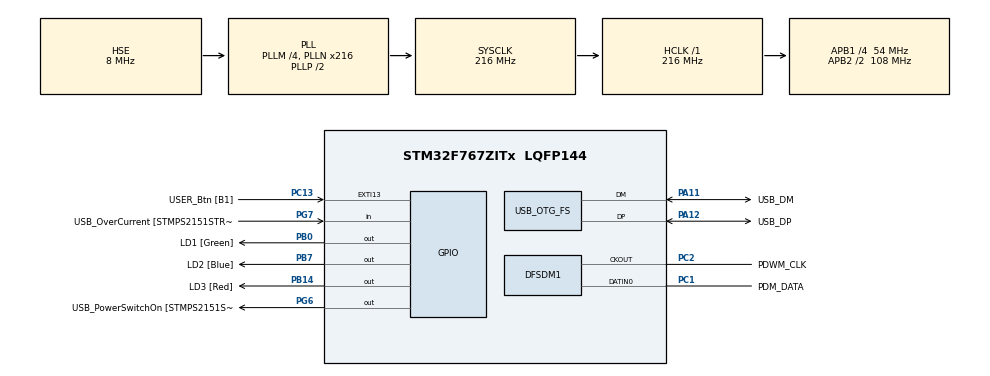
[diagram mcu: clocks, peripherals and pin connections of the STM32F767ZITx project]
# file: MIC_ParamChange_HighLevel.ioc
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DFSDM1.Divider=54
DFSDM1.DmaMode_reg_FIL0=ENABLE
DFSDM1.FastMode_reg_FIL0=ENABLE
DFSDM1.Filter_regChannel_FIL0=DFSDM_CHANNEL_0
DFSDM1.Filter_regContinuousMode_FIL0=DFSDM_CONTINUOUS_CONV_ON
DFSDM1.Fosr_FIL0=1
DFSDM1.RightBitShift_CH0=0x01
DFSDM1.SincOrder_FIL0=DFSDM_FILTER_SINC1_ORDER
DFSDM1.Type_spi_CH0=DFSDM_CHANNEL_SPI_FALLING
Dma.DFSDM1_FLT0.0.Direction=DMA_PERIPH_TO_MEMORY
Dma.DFSDM1_FLT0.0.FIFOMode=DMA_FIFOMODE_DISABLE
Dma.DFSDM1_FLT0.0.Instance=DMA2_Stream0
Dma.DFSDM1_FLT0.0.MemDataAlignment=DMA_MDATAALIGN_WORD
Dma.DFSDM1_FLT0.0.MemInc=DMA_MINC_ENABLE
Dma.DFSDM1_FLT0.0.Mode=DMA_NORMAL
Dma.DFSDM1_FLT0.0.PeriphDataAlignment=DMA_PDATAALIGN_WORD
Dma.DFSDM1_FLT0.0.PeriphInc=DMA_PINC_DISABLE
Dma.DFSDM1_FLT0.0.Priority=DMA_PRIORITY_VERY_HIGH
Dma.Request0=DFSDM1_FLT0
Mcu.Family=STM32F7
Mcu.Name=STM32F767ZITx
Mcu.Package=LQFP144
NVIC.DMA2_Stream0_IRQn=true\:0\:0\:false\:false\:true\:false\:true\:true
NVIC.EXTI15_10_IRQn=true\:0\:0\:false\:false\:true\:true\:true\:true
NVIC.OTG_FS_IRQn=true\:1\:0\:true\:false\:true\:false\:true\:true
NVIC.PriorityGroup=NVIC_PRIORITYGROUP_4
PA1.GPIO_Label=RMII_REF_CLK [LAN8742A-CZ-TR_REFCLK0]
PA1.Signal=ETH_REF_CLK
PA10.GPIO_Label=USB_ID
PA10.Signal=USB_OTG_FS_ID
PA11.GPIO_Label=USB_DM
PA11.Mode=Device_Only
PA11.Signal=USB_OTG_FS_DM
PA12.GPIO_Label=USB_DP
PA12.Mode=Device_Only
PA12.Signal=USB_OTG_FS_DP
PA13.GPIO_Label=TMS
PA13.Signal=SYS_JTMS-SWDIO
PA14.GPIO_Label=TCK
PA14.Signal=SYS_JTCK-SWCLK
PA2.GPIO_Label=RMII_MDIO [LAN8742A-CZ-TR_MDIO]
PA2.Signal=ETH_MDIO
PA7.GPIO_Label=RMII_CRS_DV [LAN8742A-CZ-TR_CRS_DV]
PA7.Signal=ETH_CRS_DV
PA8.GPIO_Label=USB_SOF [TP1]
PA8.Signal=USB_OTG_FS_SOF
PA9.GPIO_Label=USB_VBUS
PA9.Signal=USB_OTG_FS_VBUS
PB0.GPIO_Label=LD1 [Green]
PB0.Signal=GPIO_Output
PB13.GPIO_Label=RMII_TXD1 [LAN8742A-CZ-TR_TXD1]
PB13.Signal=ETH_TXD1
PB14.GPIO_Label=LD3 [Red]
PB14.Signal=GPIO_Output
PB3.GPIO_Label=SW0
PB3.Signal=SYS_JTDO-SWO
PB7.GPIO_Label=LD2 [Blue]
PB7.Signal=GPIO_Output
PC1.GPIO_Label=PDM_DATA
PC1.Signal=S_DATAIN0DFSDM1
PC13.GPIO_Label=USER_Btn [B1]
PC13.Signal=GPXTI13
PC14/OSC32_IN.Signal=RCC_OSC32_IN
PC15/OSC32_OUT.Signal=RCC_OSC32_OUT
PC2.GPIO_Label=PDWM_CLK
PC2.GPIO_Speed=GPIO_SPEED_FREQ_VERY_HIGH
PC2.Signal=S_CKOUTDFSDM1
PC4.GPIO_Label=RMII_RXD0 [LAN8742A-CZ-TR_RXD0]
PC4.Signal=ETH_RXD0
PC5.GPIO_Label=RMII_RXD1 [LAN8742A-CZ-TR_RXD1]
PC5.Signal=ETH_RXD1
PD8.GPIO_Label=STLK_RX [STM32F103CBT6_PA3]
PD8.Signal=USART3_TX
PD9.GPIO_Label=STLK_TX [STM32F103CBT6_PA2]
PD9.Signal=USART3_RX
PG11.GPIO_Label=RMII_TX_EN [LAN8742A-CZ-TR_TXEN]
PG11.Signal=ETH_TX_EN
PG13.GPIO_Label=RMII_TXD0 [LAN8742A-CZ-TR_TXD0]
PG13.Signal=ETH_TXD0
PG6.GPIO_Label=USB_PowerSwitchOn [STMPS2151STR_EN]
PG6.Signal=GPIO_Output
PG7.GPIO_Label=USB_OverCurrent [STMPS2151STR_FAULT]
PG7.Signal=GPIO_Input
PH0/OSC_IN.GPIO_Label=MCO [STM32F103CBT6_PA8]
PH0/OSC_IN.Mode=HSE-External-Oscillator
PH0/OSC_IN.Signal=RCC_OSC_IN
PH1/OSC_OUT.Mode=HSE-External-Oscillator
PH1/OSC_OUT.Signal=RCC_OSC_OUT
ProjectManager.HeapSize=0x200
ProjectManager.StackSize=0x400
ProjectManager.TargetToolchain=STM32CubeIDE
RCC.48MHZClocksFreq_Value=24000000
RCC.AHBFreq_Value=216000000
RCC.APB1CLKDivider=RCC_HCLK_DIV4
RCC.APB1Freq_Value=54000000
RCC.APB1TimFreq_Value=108000000
RCC.APB2CLKDivider=RCC_HCLK_DIV2
RCC.APB2Freq_Value=108000000
RCC.APB2TimFreq_Value=216000000
RCC.CortexFreq_Value=216000000
RCC.HCLKFreq_Value=216000000
RCC.HSE_VALUE=8000000
RCC.HSI_VALUE=16000000
RCC.LSE_VALUE=32768
RCC.PLLM=4
RCC.PLLMUL=RCC_PLL_MUL9
RCC.PLLN=216
RCC.PLLQ=9
RCC.PRESCALERUSB=RCC_USBCLKSOURCE_PLL_DIV1_5
RCC.SYSCLKFreq_VALUE=216000000
RCC.SYSCLKSource=RCC_SYSCLKSOURCE_PLLCLK
RCC.SYSCLKSourceVirtual=RCC_SYSCLKSOURCE_PLLCLK
RCC.USBFreq_Value=48000000
RCC.VCOOutputFreq_Value=432000000
SH.S_CKOUTDFSDM1.0=DFSDM1_CKOUT,PDM_SPI_input_from_ch0_and_internal_clock
SH.S_CKOUTDFSDM1.1=DFSDM1_CKOUT,CKOUT
SH.S_DATAIN0DFSDM1.0=DFSDM1_DATIN0,PDM_SPI_input_from_ch0_and_internal_clock
USB_DEVICE.CLASS_NAME_FS=CDC
USB_DEVICE.VirtualMode-CDC_FS=Cdc
USB_DEVICE.VirtualModeFS=Cdc_FS
USB_OTG_FS.VirtualMode=Device_Only
VP_USB_DEVICE_VS_USB_DEVICE_CDC_FS.Mode=CDC_FS
board=NUCLEO-F767ZI

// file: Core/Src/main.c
/* USER CODE BEGIN Header */
/**
  ******************************************************************************
  * @file           : main.c
  * @brief          : Main program body
  ******************************************************************************
  * @attention
  *
  * Copyright (c) 2025 STMicroelectronics.
  * All rights reserved.
  *
  * This software is licensed under terms that can be found in the LICENSE file
  * in the root directory of this software component.
  * If no LICENSE file comes with this software, it is provided AS-IS.
  *
  ******************************************************************************
  */
/* USER CODE END Header */
#include "main.h"
#include "usb_device.h"

/* USER CODE BEGIN Includes */
#include "usbd_cdc_if.h"
#include <stdio.h>
#include <string.h>
#include <stdlib.h> // For atoi
#include "stm32f7xx.h" // ★★★ この行を追加 ★★★
#include "stm32f767xx.h"
/* USER CODE END Includes */

/* USER CODE BEGIN PTD */
typedef enum {
    CMD_NONE,
    CMD_START_LISTEN,
    CMD_SET_PARAMS,
    CMD_UNKNOWN
} Command_t;

typedef enum {
    STATE_READY_TO_LISTEN,
    STATE_LISTENING,
    STATE_SENDING_DATA
} MCU_State_t;
/* USER CODE END PTD */

/* USER CODE BEGIN PD */
//#define AUDIO_SAMPLING_FREQUENCY 16000
// #define AUDIO_BUFFER_SIZE_BYTES (64 * 1024)
#define AUDIO_BUFFER_SIZE_BYTES (65535*4)
#define AUDIO_BUFFER_SIZE_SAMPLES (AUDIO_BUFFER_SIZE_BYTES / sizeof(int32_t))  // DMA_SxNDTR)」が16ビット幅 --> 2^16-1 = 65535 がノーマルモードでのデータ転送数の上限

#define CMD_BUFFER_SIZE 64
#define CDC_TX_CHUNK_SIZE (16 * 1024)
/* USER CODE END PD */

DFSDM_Filter_HandleTypeDef hdfsdm1_filter0;
DFSDM_Channel_HandleTypeDef hdfsdm1_channel0;
DMA_HandleTypeDef hdma_dfsdm1_flt0;

/* USER CODE BEGIN PV */
volatile MCU_State_t mcu_state = STATE_READY_TO_LISTEN;
// Ensure audio_buffer is large enough for AUDIO_BUFFER_SIZE_BYTES
// For 300KB, this is 307200 bytes / 4 bytes_per_sample = 76800 samples
// This needs to be allocated in a RAM section that can hold it (e.g. external SDRAM if MCU RAM is insufficient)
// For MCUs with limited RAM (e.g. 128KB, 256KB), 300KB static array will cause overflow.
// Using a smaller buffer for typical MCU RAM:
// #define AUDIO_BUFFER_SIZE_BYTES_ACTUAL (64 * 1024) // Example: 64KB
// int32_t audio_buffer[AUDIO_BUFFER_SIZE_BYTES_ACTUAL / sizeof(int32_t)];
// For now, assuming AUDIO_BUFFER_SIZE_BYTES is manageable or for a high-RAM MCU.
int32_t audio_buffer[AUDIO_BUFFER_SIZE_SAMPLES];

uint8_t CDC_RX_Buffer[CMD_BUFFER_SIZE];
volatile uint8_t CDC_RX_Flag = 0;
volatile uint32_t CDC_RX_Len = 0;

char set_cmd_args_buffer[CMD_BUFFER_SIZE];

volatile uint8_t dma_full_transfer_complete_flag = 0;
volatile uint8_t hardfault_indicator_flag = 0;
volatile uint8_t user_button_pressed_flag = 0;

//volatile uint32_t g_dfsdm_sinc_order = DFSDM_FILTER_SINC3_ORDER;
//volatile uint32_t g_dfsdm_filter_oversampling = 125;
//volatile uint32_t g_dfsdm_integrator_oversampling = 1;
//volatile uint32_t g_dfsdm_clock_divider = 54;
//volatile uint32_t g_dfsdm_right_bit_shift = 0x02;

volatile uint32_t g_dfsdm_sinc_order = DFSDM_FILTER_SINC1_ORDER;
volatile uint32_t g_dfsdm_filter_oversampling = 1;
volatile uint32_t g_dfsdm_integrator_oversampling = 1;
volatile uint32_t g_dfsdm_clock_divider = 36;
volatile uint32_t g_dfsdm_right_bit_shift = 0x00;
/* USER CODE END PV */

void SystemClock_Config(void);
static void MX_GPIO_Init(void);
static void MX_DMA_Init(void);
/* USER CODE BEGIN PFP */
void SystemClock_Config(void);
static void MX_GPIO_Init(void);
static void MX_DMA_Init(void);

static Command_t Parse_Command(uint8_t* cmd_buffer, uint32_t len);
static void Process_Command(Command_t cmd);
static void Send_CDC_Message_Safe(const char* message);
void CDC_On_Receive(uint8_t* Buf, uint32_t Len);
static HAL_StatusTypeDef Reconfigure_And_Start_DFSDM(void);
static HAL_StatusTypeDef MX_DFSDM1_Init_Robust(void);
static void Start_Listening_Action(void);
static void Handle_Set_Params_Command(uint8_t* cmd_payload, uint32_t payload_len);
static uint32_t MapSincOrderNumToDefine(uint32_t order_num);
/* USER CODE END PFP */

/* USER CODE BEGIN 0 */

static uint32_t MapSincOrderNumToDefine(uint32_t order_num) {
    switch (order_num) {
        case 1: return DFSDM_FILTER_SINC1_ORDER;
        case 2: return DFSDM_FILTER_SINC2_ORDER;
        case 3: return DFSDM_FILTER_SINC3_ORDER;
        case 4: return DFSDM_FILTER_SINC4_ORDER;
        case 5: return DFSDM_FILTER_SINC5_ORDER;
        default:
            Send_CDC_Message_Safe("Warning: Invalid SINC order number, using current.\r\n");
            return g_dfsdm_sinc_order;
    }
}

static void Send_CDC_Message_Safe(const char* message) {
    if (message != NULL && hardfault_indicator_flag == 0) {
        uint16_t len = strlen(message);
        if (len > 0) {
             CDC_Transmit_FS((uint8_t*)message, len);
        }
        HAL_Delay(10);
    }
}

void CDC_On_Receive(uint8_t* Buf, uint32_t Len) {
    if (Len == 0) { CDC_RX_Len = 0; CDC_RX_Flag = 0; return; }
    if (Len < CMD_BUFFER_SIZE) {
        memcpy(CDC_RX_Buffer, Buf, Len);
        if (Len >= 2 && CDC_RX_Buffer[Len - 2] == '\r' && CDC_RX_Buffer[Len - 1] == '\n') {
            CDC_RX_Buffer[Len - 2] = '\0'; CDC_RX_Len = Len - 2;
        } else if (Len >= 1 && (CDC_RX_Buffer[Len - 1] == '\n' || CDC_RX_Buffer[Len - 1] == '\r')) {
            CDC_RX_Buffer[Len - 1] = '\0'; CDC_RX_Len = Len - 1;
        } else {
            if (Len < CMD_BUFFER_SIZE) CDC_RX_Buffer[Len] = '\0';
            else CDC_RX_Buffer[CMD_BUFFER_SIZE - 1] = '\0';
            CDC_RX_Len = (Len < CMD_BUFFER_SIZE) ? Len : CMD_BUFFER_SIZE -1;
        }
        CDC_RX_Flag = 1;
    } else {
        CDC_RX_Len = 0; CDC_RX_Flag = 0;
    }
}

//static HAL_StatusTypeDef Reconfigure_And_Start_DFSDM(void)
//{
//    char msg_buf[128];
//    Send_CDC_Message_Safe("DBG: Manual Reconfiguration Started...\r\n");
//
//
//    /* ステップ2: ペリフェラルをハードウェアレベルで完全に無効化 ★最重要★ */
//    CLEAR_BIT(hdfsdm1_filter0.Instance->FLTCR1, DFSDM_FLTCR1_DFEN);
//    CLEAR_BIT(hdfsdm1_channel0.Instance->CHCFGR1, DFSDM_CHCFGR1_DFSDMEN);
////    CLEAR_BIT(DFSDM1->FLTCR1, DFSDM_CHCFGR1_CHEN); // DFSDM全体を無効化 (旧DFSDM_EN)
//    HAL_Delay(1);
//
//    /* ステップ3: レジスタへの直接書き込みによる手動設定 */
//    // --- チャンネル0 の設定 (CHCFGR1) ---
//    uint32_t ch0cfgr1_val = 0;
//    ch0cfgr1_val |= (2U << DFSDM_CHCFGR1_SITP_Pos);
//    ch0cfgr1_val |= DFSDM_CHCFGR1_SPICKSEL_0;
//    ch0cfgr1_val |= ((g_dfsdm_clock_divider - 1) << DFSDM_CHCFGR1_CKOUTDIV_Pos);
//    WRITE_REG(hdfsdm1_channel0.Instance->CHCFGR1, ch0cfgr1_val);
//
//    // --- フィルタ 0 の設定 (FCR) ---
//    uint32_t flt0fcr_val = 0;
//    flt0fcr_val |= ((g_dfsdm_integrator_oversampling - 1) << DFSDM_FLTFCR_IOSR_Pos);
//    flt0fcr_val |= ((g_dfsdm_filter_oversampling - 1)     << DFSDM_FLTFCR_FOSR_Pos);
//    flt0fcr_val |= g_dfsdm_sinc_order;
//    WRITE_REG(hdfsdm1_filter0.Instance->FLTFCR, flt0fcr_val);
//
//    // --- フィルタ 0 の制御レジスタ設定 (FLTCR1) ---
//    uint32_t flt0cr1_val = 0;
//    flt0cr1_val |= DFSDM_FLTCR1_FAST;
//    flt0cr1_val |= DFSDM_FLTCR1_RDMAEN;
////    flt0cr1_val |= DFSDM_FLTCR1_RSWSTART;
//    // フィルタ0をチャンネル0に接続 (RCHビット)
//    flt0cr1_val |= (DFSDM_CHANNEL_0 << DFSDM_FLTCR1_RCH_Pos);
//    WRITE_REG(hdfsdm1_filter0.Instance->FLTCR1, flt0cr1_val);
//
//    /* ステップ1: 既存の動作を完全に停止 */
//    HAL_DFSDM_FilterRegularStop_DMA(&hdfsdm1_filter0);
////    HAL_DMA_Abort(&hdma_dfsdm1_flt0);
//    if(HAL_DMA_DeInit(&hdma_dfsdm1_flt0) != HAL_OK){
//    	Error_Handler();
//    }
//    if(HAL_DMA_Init(&hdma_dfsdm1_flt0) != HAL_OK){
//    	Error_Handler();
//    }
//
//    __HAL_LINKDMA(&hdfsdm1_filter0, hdmaReg, hdma_dfsdm1_flt0);
//
//
//    /* ステップ4: ペリフェラルを有効化 */
//    SET_BIT(hdfsdm1_channel0.Instance->CHCFGR1, DFSDM_CHCFGR1_DFSDMEN);
//    SET_BIT(hdfsdm1_filter0.Instance->FLTCR1, DFSDM_FLTCR1_DFEN);
////    SET_BIT(DFSDM1->CR1, DFSDM_CR1_DFSDMEN);
//
//
//    /* デバッグ用：最終的なレジスタ値を表示 */
//    uint32_t final_reg_val = READ_REG(hdfsdm1_channel0.Instance->CHCFGR1);
//    sprintf(msg_buf, "DBG: Final CH0CFGR1 value: 0x%08lX\r\n", final_reg_val);
//    Send_CDC_Message_Safe(msg_buf);
//
//    /* ステップ5: DMA転送を開始 */
//    return HAL_DFSDM_FilterRegularStart_DMA(&hdfsdm1_filter0, audio_buffer, AUDIO_BUFFER_SIZE_SAMPLES);
//}

//static HAL_StatusTypeDef Reconfigure_And_Start_DFSDM(void)
//{
//    char msg_buf[128];
//    Send_CDC_Message_Safe("DBG: Hybrid Reconfiguration Started...\r\n");
//
//    /* ステップ1: 既存のDMAを停止 */
//    HAL_DFSDM_FilterRegularStop_DMA(&hdfsdm1_filter0);
//
//    /* ステップ2: 手動でペリフェラルをハードウェアレベルで完全に無効化 */
//    CLEAR_BIT(hdfsdm1_filter0.Instance->FLTCR1, DFSDM_FLTCR1_DFEN);
//    CLEAR_BIT(hdfsdm1_channel0.Instance->CHCFGR1, DFSDM_CHCFGR1_DFSDMEN);
//    CLEAR_BIT(DFSDM1->CR1, DFSDM_CR1_DFSDMEN);
//    HAL_Delay(5);
//
//    /* ステップ3: 堅牢なHALベースの再初期化を実行 */
//    if (MX_DFSDM1_Init_Robust() != HAL_OK) {
//        Send_CDC_Message_Safe("FATAL: Robust Re-Init Failed!\r\n");
//        return HAL_ERROR;
//    }
//
//    /* ステップ4: DMA転送を開始 */
//    dma_full_transfer_complete_flag = 0;
//    return HAL_DFSDM_FilterRegularStart_DMA(&hdfsdm1_filter0, audio_buffer, AUDIO_BUFFER_SIZE_SAMPLES);
//}

static HAL_StatusTypeDef Reconfigure_And_Start_DFSDM(void)
{
    Send_CDC_Message_Safe("DBG: HAL-Only Reconfiguration Started...\r\n");

    /* ステップ1: 既存のDMAを停止 */
    if(HAL_DFSDM_FilterRegularStop_DMA(&hdfsdm1_filter0) != HAL_OK){
        // 既に止まっている場合はHAL_ERRORが返るが、問題ないので無視する
    }

    /* ステップ2: HAL関数でペリフェラルをDeInit */
    if(HAL_DFSDM_FilterDeInit(&hdfsdm1_filter0) != HAL_OK){
        Send_CDC_Message_Safe("FATAL: HAL_DFSDM_FilterDeInit Failed!\r\n");
        return HAL_ERROR;
    }
    if(HAL_DFSDM_ChannelDeInit(&hdfsdm1_channel0) != HAL_OK){
        Send_CDC_Message_Safe("FATAL: HAL_DFSDM_ChannelDeInit Failed!\r\n");
        return HAL_ERROR;
    }
    HAL_Delay(5); // 状態の安定を待つ

    /* ステップ3: HALベースの堅牢な再初期化を実行 */
    if (MX_DFSDM1_Init_Robust() != HAL_OK) {
        Send_CDC_Message_Safe("FATAL: Robust Re-Init Failed!\r\n");
        return HAL_ERROR;
    }

    HAL_Delay(1000);  // 初期値安定のための待ち
    HAL_Delay(1000);  // 初期値安定のための待ち
    HAL_Delay(1000);  // 初期値安定のための待ち

    /* ステップ4: DMA転送を開始 */
    dma_full_transfer_complete_flag = 0;
    return HAL_DFSDM_FilterRegularStart_DMA(&hdfsdm1_filter0, audio_buffer, AUDIO_BUFFER_SIZE_SAMPLES);
}

static HAL_StatusTypeDef MX_DFSDM1_Init_Robust(void)
{
  /* フィルタハンドルの設定 */
  hdfsdm1_filter0.Instance = DFSDM1_Filter0;
  hdfsdm1_filter0.Init.RegularParam.Trigger = DFSDM_FILTER_SW_TRIGGER;
  hdfsdm1_filter0.Init.RegularParam.FastMode = ENABLE;
  hdfsdm1_filter0.Init.RegularParam.DmaMode = ENABLE;
  hdfsdm1_filter0.Init.FilterParam.SincOrder = g_dfsdm_sinc_order;
  hdfsdm1_filter0.Init.FilterParam.Oversampling = g_dfsdm_filter_oversampling;
  hdfsdm1_filter0.Init.FilterParam.IntOversampling = g_dfsdm_integrator_oversampling;
  if (HAL_DFSDM_FilterInit(&hdfsdm1_filter0) != HAL_OK) return HAL_ERROR;

  /* チャンネルハンドルの設定 */
  hdfsdm1_channel0.Instance = DFSDM1_Channel0;
  hdfsdm1_channel0.Init.OutputClock.Activation = ENABLE;
  hdfsdm1_channel0.Init.OutputClock.Selection = DFSDM_CHANNEL_OUTPUT_CLOCK_SYSTEM;
  hdfsdm1_channel0.Init.OutputClock.Divider = g_dfsdm_clock_divider;
  hdfsdm1_channel0.Init.Input.Multiplexer = DFSDM_CHANNEL_EXTERNAL_INPUTS;
  hdfsdm1_channel0.Init.Input.DataPacking = DFSDM_CHANNEL_STANDARD_MODE;
  hdfsdm1_channel0.Init.Input.Pins = DFSDM_CHANNEL_SAME_CHANNEL_PINS;
  hdfsdm1_channel0.Init.SerialInterface.Type = DFSDM_CHANNEL_SPI_FALLING;
  hdfsdm1_channel0.Init.SerialInterface.SpiClock = DFSDM_CHANNEL_SPI_CLOCK_INTERNAL;
  hdfsdm1_channel0.Init.Awd.FilterOrder = DFSDM_CHANNEL_FASTSINC_ORDER;
  hdfsdm1_channel0.Init.Awd.Oversampling = 1;
  hdfsdm1_channel0.Init.Offset = 0;
  hdfsdm1_channel0.Init.RightBitShift = g_dfsdm_right_bit_shift;

  CLEAR_BIT(hdfsdm1_channel0.Instance->CHCFGR1, DFSDM_CHCFGR1_DFSDMEN);
  MODIFY_REG(hdfsdm1_channel0.Instance->CHCFGR1,
		  DFSDM_CHCFGR1_CKOUTDIV,
		  (g_dfsdm_clock_divider-1)<<DFSDM_CHCFGR1_CKOUTDIV_Pos);

  if (HAL_DFSDM_ChannelInit(&hdfsdm1_channel0) != HAL_OK) return HAL_ERROR;

  /* フィルタとチャンネルの接続 */
  if (HAL_DFSDM_FilterConfigRegChannel(&hdfsdm1_filter0, DFSDM_CHANNEL_0, DFSDM_CONTINUOUS_CONV_ON) != HAL_OK) return HAL_ERROR;

  return HAL_OK;
}

static void Start_Listening_Action(void) {
    HAL_StatusTypeDef status;
    char msg_buf[128];
    Send_CDC_Message_Safe("DBG: Start Listening Action started...\r\n");

    if (mcu_state != STATE_READY_TO_LISTEN) {
        Send_CDC_Message_Safe("Error: Not in READY state.\r\n");
        return;
    }
    status = Reconfigure_And_Start_DFSDM();

    sprintf(msg_buf, "DBG: Start_DMA final status: %d (0=OK)\r\n", status);
    Send_CDC_Message_Safe(msg_buf);

    if (status == HAL_OK) {
        mcu_state = STATE_LISTENING;
    } else {
        Send_CDC_Message_Safe("FATAL: Reconfigure_And_Start_DFSDM Failed!\r\n");
    }
}

static void Handle_Set_Params_Command(uint8_t* cmd_payload, uint32_t payload_len) {
    char local_payload_copy[CMD_BUFFER_SIZE];
    if (payload_len >= CMD_BUFFER_SIZE) {
        Send_CDC_Message_Safe("Error: SET command payload too long.\r\n");
        return;
    }
    memcpy(local_payload_copy, cmd_payload, payload_len);
    local_payload_copy[payload_len] = '\0';

    char* token;
    char* rest = local_payload_copy;
    char msg_buf[128];
    uint8_t params_updated_flag = 0;
//    HAL_StatusTypeDef status;

    uint32_t temp_sinc_order_num = 0;
    uint32_t temp_sinc_reg_val = g_dfsdm_sinc_order;
    uint32_t temp_ov = g_dfsdm_filter_oversampling;
    uint32_t temp_iosr = g_dfsdm_integrator_oversampling;
    uint32_t temp_clkdiv = g_dfsdm_clock_divider;
    uint32_t temp_rbs = g_dfsdm_right_bit_shift;

    if (g_dfsdm_sinc_order == DFSDM_FILTER_SINC1_ORDER) temp_sinc_order_num = 1;
    else if (g_dfsdm_sinc_order == DFSDM_FILTER_SINC2_ORDER) temp_sinc_order_num = 2;
    else if (g_dfsdm_sinc_order == DFSDM_FILTER_SINC3_ORDER) temp_sinc_order_num = 3;
    else if (g_dfsdm_sinc_order == DFSDM_FILTER_SINC4_ORDER) temp_sinc_order_num = 4;
    else if (g_dfsdm_sinc_order == DFSDM_FILTER_SINC5_ORDER) temp_sinc_order_num = 5;

    token = strtok(rest, " ");
    while (token != NULL) {
        if (strncmp(token, "SINC=", 5) == 0) {
            uint32_t val = atoi(token + 5);
            if (val >= 1 && val <= 5) {
                if (MapSincOrderNumToDefine(val) != temp_sinc_reg_val) params_updated_flag = 1;
                temp_sinc_order_num = val;
                temp_sinc_reg_val = MapSincOrderNumToDefine(val);
            } else { Send_CDC_Message_Safe("Error: Invalid SINC value (1-5).\r\n"); return; }
        } else if (strncmp(token, "OV=", 3) == 0) {
            uint32_t val = atoi(token + 3);
            if (val >= 1 && val <= 1024) {
                if (val != temp_ov) params_updated_flag = 1;
                temp_ov = val;
            } else { Send_CDC_Message_Safe("Error: Invalid OV value (1-1024).\r\n"); return; }
        } else if (strncmp(token, "IOSR=", 5) == 0) {
            uint32_t val = atoi(token + 5);
             if (val >= 1 && val <= 256) {
                if (val != temp_iosr) params_updated_flag = 1;
                temp_iosr = val;
            } else { Send_CDC_Message_Safe("Error: Invalid IOSR value (1-256).\r\n"); return; }
        } else if (strncmp(token, "CLKDIV=", 7) == 0) {
            uint32_t val = atoi(token + 7);
            if (val >= 1 && val <= 256) {
                if (val != temp_clkdiv) params_updated_flag = 1;
                temp_clkdiv = val;
            } else { Send_CDC_Message_Safe("Error: Invalid CLKDIV value (1-256).\r\n"); return; }
        } else if (strncmp(token, "RBS=", 4) == 0) {
            uint32_t val = atoi(token + 4);
            if (val <= 0x1F) {
                if (val != temp_rbs) params_updated_flag = 1;
                temp_rbs = val;
            } else { Send_CDC_Message_Safe("Error: Invalid RBS value (0-31).\r\n"); return; }
        } else {
            sprintf(msg_buf, "Warning: Unknown parameter token in SET: %s\r\n", token);
            Send_CDC_Message_Safe(msg_buf);
        }
        token = strtok(NULL, " ");
    }

    if (params_updated_flag) {
        Send_CDC_Message_Safe("DBG: Parameters changed. Updating global variables...\r\n");
        g_dfsdm_sinc_order = temp_sinc_reg_val;
        g_dfsdm_filter_oversampling = temp_ov;
        g_dfsdm_integrator_oversampling = temp_iosr;
        g_dfsdm_clock_divider = temp_clkdiv;
        g_dfsdm_right_bit_shift = temp_rbs;

        // ★★★ この関数でのDeInit/Init呼び出しはすべて不要なので削除 ★★★

        sprintf(msg_buf, "DFSDM Parameters set: SINC=%lu, OV=%lu, CLKDIV=%lu\r\n",
                temp_sinc_order_num,
                (unsigned long)g_dfsdm_filter_oversampling,
                (unsigned long)g_dfsdm_clock_divider);
        Send_CDC_Message_Safe(msg_buf);
    } else {
        Send_CDC_Message_Safe("No DFSDM parameters changed.\r\n");
    }
}

static Command_t Parse_Command(uint8_t* cmd_buffer, uint32_t effective_len) {
    if (effective_len == 0) return CMD_NONE;

    const char* start_listen_str = "START_LISTEN";
    if (effective_len == strlen(start_listen_str) &&
        strncmp((char*)cmd_buffer, start_listen_str, strlen(start_listen_str)) == 0) {
        return CMD_START_LISTEN;
    }

    const char* set_params_prefix = "SET ";
    if (effective_len > strlen(set_params_prefix) &&
        strncmp((char*)cmd_buffer, set_params_prefix, strlen(set_params_prefix)) == 0) {

        uint32_t args_len = effective_len - strlen(set_params_prefix);
        if (args_len < sizeof(set_cmd_args_buffer)) {
            memcpy(set_cmd_args_buffer, cmd_buffer + strlen(set_params_prefix), args_len);
            set_cmd_args_buffer[args_len] = '\0';
            return CMD_SET_PARAMS;
        } else {
            Send_CDC_Message_Safe("Error: SET command arguments too long.\r\n");
            return CMD_UNKNOWN;
        }
    }
    return CMD_UNKNOWN;
}

static void Process_Command(Command_t cmd) {
    char msg_buf[150];
    switch (cmd) {
        case CMD_START_LISTEN:
            sprintf(msg_buf, "CMD: START_LISTEN (from PC) received. Current state: %d\r\n", mcu_state);
            Send_CDC_Message_Safe(msg_buf);
            if (mcu_state == STATE_READY_TO_LISTEN) {
                Start_Listening_Action();
            } else {
                sprintf(msg_buf, "CMD: START_LISTEN ignored. Not in READY state (Current: %d)\r\n", mcu_state);
                Send_CDC_Message_Safe(msg_buf);
            }
            break;
        case CMD_SET_PARAMS:
            sprintf(msg_buf, "CMD: SET_PARAMS (from PC) received. Args: '%s'. Current state: %d\r\n", set_cmd_args_buffer, mcu_state);
            Send_CDC_Message_Safe(msg_buf);
            if (mcu_state == STATE_READY_TO_LISTEN) {
                Handle_Set_Params_Command((uint8_t*)set_cmd_args_buffer, strlen(set_cmd_args_buffer));
            } else {
                sprintf(msg_buf, "CMD: SET_PARAMS ignored. Not in READY state (Current: %d)\r\n", mcu_state);
                Send_CDC_Message_Safe(msg_buf);
            }
            break;
        case CMD_UNKNOWN:
        default:
            CDC_RX_Buffer[CDC_RX_Len < CMD_BUFFER_SIZE ? CDC_RX_Len : CMD_BUFFER_SIZE -1] = '\0';
            sprintf(msg_buf, "Error: Unknown command received: '%s'\r\n", (char*)CDC_RX_Buffer);
            Send_CDC_Message_Safe(msg_buf);
            break;
    }
}
/* USER CODE END 0 */

int main(void)
{

  /* MCU Configuration--------------------------------------------------------*/

  /* Reset of all peripherals, Initializes the Flash interface and the Systick. */
  HAL_Init();

  /* Configure the system clock */
  SystemClock_Config();

  /* Initialize all configured peripherals */
  MX_GPIO_Init();
  MX_DMA_Init();
  if (MX_DFSDM1_Init_Robust() != HAL_OK) Error_Handler(); // 起動時も堅牢なInitを使用
  MX_USB_DEVICE_Init();
  /* USER CODE BEGIN 2 */
  HAL_Delay(1000);

  Send_CDC_Message_Safe("System Initialized.\r\n");
  Send_CDC_Message_Safe("Send 'START_LISTEN' or 'SET SINC=N OV=N IOSR=N CLKDIV=N RBS=N' or press USER button.\r\n");

  char initial_params_msg[256];
  uint32_t sinc_order_num_display = 0;
    if (g_dfsdm_sinc_order == DFSDM_FILTER_SINC1_ORDER) sinc_order_num_display = 1;
    else if (g_dfsdm_sinc_order == DFSDM_FILTER_SINC2_ORDER) sinc_order_num_display = 2;
    else if (g_dfsdm_sinc_order == DFSDM_FILTER_SINC3_ORDER) sinc_order_num_display = 3;
    else if (g_dfsdm_sinc_order == DFSDM_FILTER_SINC4_ORDER) sinc_order_num_display = 4;
    else if (g_dfsdm_sinc_order == DFSDM_FILTER_SINC5_ORDER) sinc_order_num_display = 5;
    else sinc_order_num_display = 99;

  sprintf(initial_params_msg, "Initial DFSDM Params: SINC_Order=%lu (RegVal=0x%lX), FOSR=%lu, IOSR=%lu, CLKDIV=%lu, RBS=%lu\r\n",
            sinc_order_num_display,
            (unsigned long)g_dfsdm_sinc_order,
            (unsigned long)g_dfsdm_filter_oversampling,
            (unsigned long)g_dfsdm_integrator_oversampling,
            (unsigned long)g_dfsdm_clock_divider,
            (unsigned long)g_dfsdm_right_bit_shift);
  Send_CDC_Message_Safe(initial_params_msg);

  char buffer_size_msg[64];
  sprintf(buffer_size_msg, "DBG: AUDIO_BUFFER_SIZE_BYTES = %lu, CHUNK_SIZE = %u\r\n",
          (unsigned long)AUDIO_BUFFER_SIZE_BYTES,
          (unsigned int)CDC_TX_CHUNK_SIZE);
  Send_CDC_Message_Safe(buffer_size_msg);

  mcu_state = STATE_READY_TO_LISTEN;
  Send_CDC_Message_Safe("DBG: MCU State set to READY_TO_LISTEN before loop.\r\n");
  /* USER CODE END 2 */

  /* Infinite loop */
  while (1)
  {

    /* USER CODE BEGIN 3 */
    if (hardfault_indicator_flag) {
        HAL_GPIO_TogglePin(GPIOB, LD3_Pin);
        for(volatile int i=0; i<50000; i++);
    }

    if (CDC_RX_Flag) {
        CDC_RX_Flag = 0;
        Command_t current_cmd = Parse_Command(CDC_RX_Buffer, CDC_RX_Len);
        Process_Command(current_cmd);
        CDC_RX_Len = 0;
    }

    if (user_button_pressed_flag) {
        user_button_pressed_flag = 0;
        Send_CDC_Message_Safe("DBG: Main loop processing User Button press.\r\n");
        char msg_buf[100];
        sprintf(msg_buf, "DBG: Current mcu_state before Start_Listening_Action (from main loop button): %d\r\n", mcu_state);
        Send_CDC_Message_Safe(msg_buf);
        if (mcu_state == STATE_READY_TO_LISTEN) {
            Start_Listening_Action();
        } else {
            sprintf(msg_buf, "DBG: Button press ignored by main loop. Not in READY state (Current: %d)\r\n", mcu_state);
            Send_CDC_Message_Safe(msg_buf);
        }
    }

    if (dma_full_transfer_complete_flag) {
        if (mcu_state == STATE_LISTENING) {
            Send_CDC_Message_Safe("DBG: Main loop: DMA complete AND state is LISTENING. Processing...\r\n");
            dma_full_transfer_complete_flag = 0;
            mcu_state = STATE_SENDING_DATA;
        } else {
            char state_err_msg[80];
            sprintf(state_err_msg, "DBG: DMA flag set, but state not LISTENING (State: %d). Resetting flag.\r\n", mcu_state);
            Send_CDC_Message_Safe(state_err_msg);
            dma_full_transfer_complete_flag = 0;
        }
    }

    switch (mcu_state) {
        case STATE_READY_TO_LISTEN:
            HAL_GPIO_WritePin(GPIOB, LD1_Pin, GPIO_PIN_RESET);
            HAL_GPIO_WritePin(GPIOB, LD2_Pin, GPIO_PIN_RESET);
            if (!hardfault_indicator_flag) {
                 HAL_GPIO_WritePin(GPIOB, LD3_Pin, GPIO_PIN_RESET);
            }
            break;
        case STATE_LISTENING:
            break;
        case STATE_SENDING_DATA:

        	HAL_Delay(100);

            // Send_CDC_Message_Safe("DBG: Entered STATE_SENDING_DATA case.\r\n"); // Optional: can be noisy
            HAL_GPIO_WritePin(GPIOB, LD1_Pin, GPIO_PIN_RESET);
            HAL_GPIO_WritePin(GPIOB, LD2_Pin, GPIO_PIN_SET);

            char tx_header[64];
            sprintf(tx_header, "Sending %lu bytes of audio data...\r\n", (unsigned long)AUDIO_BUFFER_SIZE_BYTES);
            Send_CDC_Message_Safe(tx_header); // This is the crucial header for Python script

            uint32_t bytes_sent = 0;
            uint8_t tx_success = 1;
            uint8_t cdc_tx_status;
            // char chunk_info_msg[80]; // Buffers for debug messages, used if messages are enabled
            // char tx_status_msg[64];
            // char sent_info_msg[64];

            // Send_CDC_Message_Safe("DBG: Starting chunk transmission loop.\r\n"); // Keep this commented for clean binary data

            while(bytes_sent < AUDIO_BUFFER_SIZE_BYTES) {
                uint16_t chunk_len = CDC_TX_CHUNK_SIZE;
                if (bytes_sent + chunk_len > AUDIO_BUFFER_SIZE_BYTES) {
                    chunk_len = AUDIO_BUFFER_SIZE_BYTES - bytes_sent;
                }

                // sprintf(chunk_info_msg, "DBG: Attempting to send chunk: offset %lu, len %u\r\n", bytes_sent, chunk_len);
                // Send_CDC_Message_Safe(chunk_info_msg); // Keep commented for clean binary

                cdc_tx_status = CDC_Transmit_FS(((uint8_t*)audio_buffer) + bytes_sent, chunk_len);

                // sprintf(tx_status_msg, "DBG: CDC_Transmit_FS status for chunk: %d (0=OK, 5=BUSY)\r\n", cdc_tx_status);
                // Send_CDC_Message_Safe(tx_status_msg); // Keep commented for clean binary

                if (cdc_tx_status == USBD_BUSY) {
                    // Send_CDC_Message_Safe("DBG: USB Busy, retrying chunk...\r\n"); // Can be very noisy, keep commented
                    HAL_Delay(1);
                    continue;
                } else if (cdc_tx_status != USBD_OK) {
                    // Error messages are fine to send if something goes wrong
                    char err_msg[64];
                    sprintf(err_msg, "Error: CDC Transmit Chunk Failed! Status: %d\r\n", cdc_tx_status);
                    Send_CDC_Message_Safe(err_msg);
                    tx_success = 0;
                    break;
                }
                bytes_sent += chunk_len;

                // sprintf(sent_info_msg, "DBG: Total bytes sent so far: %lu / %lu\r\n", bytes_sent, (unsigned long)AUDIO_BUFFER_SIZE_BYTES);
                // Send_CDC_Message_Safe(sent_info_msg); // Keep commented for clean binary

                HAL_Delay(10); // This delay might be crucial for stability with large data/some USB hosts
            }
            // Send_CDC_Message_Safe("DBG: Chunk transmission loop finished.\r\n"); // Keep this commented

            if (tx_success) {
                Send_CDC_Message_Safe("Audio data sent successfully.\r\n"); // Important completion message
            } else {
                Send_CDC_Message_Safe("Error: Audio data transmission failed.\r\n");
            }
            HAL_GPIO_WritePin(GPIOB, LD2_Pin, GPIO_PIN_RESET);

            mcu_state = STATE_READY_TO_LISTEN;
            // Send_CDC_Message_Safe("Returning to ready state.\r\n"); // Optional

            break;
        default:
            Send_CDC_Message_Safe("Error: Unknown MCU state! Resetting to READY_TO_LISTEN.\r\n");
            mcu_state = STATE_READY_TO_LISTEN;
            break;
    }

    if (!hardfault_indicator_flag) {
        HAL_Delay(1);
    }
  }
  /* USER CODE END 3 */
}

void SystemClock_Config(void)
{
  RCC_OscInitTypeDef RCC_OscInitStruct = {0};
  RCC_ClkInitTypeDef RCC_ClkInitStruct = {0};

  /** Configure the main internal regulator output voltage
  */
  __HAL_RCC_PWR_CLK_ENABLE();
  __HAL_PWR_VOLTAGESCALING_CONFIG(PWR_REGULATOR_VOLTAGE_SCALE1);

  /** Initializes the RCC Oscillators according to the specified parameters
  * in the RCC_OscInitTypeDef structure.
  */
  RCC_OscInitStruct.OscillatorType = RCC_OSCILLATORTYPE_HSE;
  RCC_OscInitStruct.HSEState = RCC_HSE_ON;
  RCC_OscInitStruct.PLL.PLLState = RCC_PLL_ON;
  RCC_OscInitStruct.PLL.PLLSource = RCC_PLLSOURCE_HSE;
  RCC_OscInitStruct.PLL.PLLM = 4;
  RCC_OscInitStruct.PLL.PLLN = 216;
  RCC_OscInitStruct.PLL.PLLP = RCC_PLLP_DIV2;
  RCC_OscInitStruct.PLL.PLLQ = 9;
  RCC_OscInitStruct.PLL.PLLR = 2;
  if (HAL_RCC_OscConfig(&RCC_OscInitStruct) != HAL_OK)
  {
    Error_Handler();
  }

  /** Activate the Over-Drive mode
  */
  if (HAL_PWREx_EnableOverDrive() != HAL_OK)
  {
    Error_Handler();
  }

  /** Initializes the CPU, AHB and APB buses clocks
  */
  RCC_ClkInitStruct.ClockType = RCC_CLOCKTYPE_HCLK|RCC_CLOCKTYPE_SYSCLK
                              |RCC_CLOCKTYPE_PCLK1|RCC_CLOCKTYPE_PCLK2;
  RCC_ClkInitStruct.SYSCLKSource = RCC_SYSCLKSOURCE_PLLCLK;
  RCC_ClkInitStruct.AHBCLKDivider = RCC_SYSCLK_DIV1;
  RCC_ClkInitStruct.APB1CLKDivider = RCC_HCLK_DIV4;
  RCC_ClkInitStruct.APB2CLKDivider = RCC_HCLK_DIV2;

  if (HAL_RCC_ClockConfig(&RCC_ClkInitStruct, FLASH_LATENCY_7) != HAL_OK)
  {
    Error_Handler();
  }
}

static void MX_DMA_Init(void)
{

  /* DMA controller clock enable */
  __HAL_RCC_DMA2_CLK_ENABLE();

  /* DMA interrupt init */
  /* DMA2_Stream0_IRQn interrupt configuration */
  HAL_NVIC_SetPriority(DMA2_Stream0_IRQn, 0, 0);
  HAL_NVIC_EnableIRQ(DMA2_Stream0_IRQn);

}

static void MX_GPIO_Init(void)
{
  GPIO_InitTypeDef GPIO_InitStruct = {0};

  /* GPIO Ports Clock Enable */
  __HAL_RCC_GPIOC_CLK_ENABLE();
  __HAL_RCC_GPIOH_CLK_ENABLE();
  __HAL_RCC_GPIOA_CLK_ENABLE();
  __HAL_RCC_GPIOB_CLK_ENABLE();
  __HAL_RCC_GPIOD_CLK_ENABLE();
  __HAL_RCC_GPIOG_CLK_ENABLE();

  /*Configure GPIO pin Output Level */
  HAL_GPIO_WritePin(GPIOB, LD1_Pin|LD3_Pin|LD2_Pin, GPIO_PIN_RESET);

  /*Configure GPIO pin Output Level */
  HAL_GPIO_WritePin(USB_PowerSwitchOn_GPIO_Port, USB_PowerSwitchOn_Pin, GPIO_PIN_RESET);

  /*Configure GPIO pin : USER_Btn_Pin */
  GPIO_InitStruct.Pin = USER_Btn_Pin;
  GPIO_InitStruct.Mode = GPIO_MODE_IT_RISING;
  GPIO_InitStruct.Pull = GPIO_NOPULL;
  HAL_GPIO_Init(USER_Btn_GPIO_Port, &GPIO_InitStruct);

  /*Configure GPIO pins : RMII_REF_CLK_Pin RMII_MDIO_Pin RMII_CRS_DV_Pin */
  GPIO_InitStruct.Pin = RMII_REF_CLK_Pin|RMII_MDIO_Pin|RMII_CRS_DV_Pin;
  GPIO_InitStruct.Mode = GPIO_MODE_AF_PP;
  GPIO_InitStruct.Pull = GPIO_NOPULL;
  GPIO_InitStruct.Speed = GPIO_SPEED_FREQ_VERY_HIGH;
  GPIO_InitStruct.Alternate = GPIO_AF11_ETH;
  HAL_GPIO_Init(GPIOA, &GPIO_InitStruct);

  /*Configure GPIO pins : RMII_RXD0_Pin RMII_RXD1_Pin */
  GPIO_InitStruct.Pin = RMII_RXD0_Pin|RMII_RXD1_Pin;
  GPIO_InitStruct.Mode = GPIO_MODE_AF_PP;
  GPIO_InitStruct.Pull = GPIO_NOPULL;
  GPIO_InitStruct.Speed = GPIO_SPEED_FREQ_VERY_HIGH;
  GPIO_InitStruct.Alternate = GPIO_AF11_ETH;
  HAL_GPIO_Init(GPIOC, &GPIO_InitStruct);

  /*Configure GPIO pins : LD1_Pin LD3_Pin LD2_Pin */
  GPIO_InitStruct.Pin = LD1_Pin|LD3_Pin|LD2_Pin;
  GPIO_InitStruct.Mode = GPIO_MODE_OUTPUT_PP;
  GPIO_InitStruct.Pull = GPIO_NOPULL;
  GPIO_InitStruct.Speed = GPIO_SPEED_FREQ_LOW;
  HAL_GPIO_Init(GPIOB, &GPIO_InitStruct);

  /*Configure GPIO pin : RMII_TXD1_Pin */
  GPIO_InitStruct.Pin = RMII_TXD1_Pin;
  GPIO_InitStruct.Mode = GPIO_MODE_AF_PP;
  GPIO_InitStruct.Pull = GPIO_NOPULL;
  GPIO_InitStruct.Speed = GPIO_SPEED_FREQ_VERY_HIGH;
  GPIO_InitStruct.Alternate = GPIO_AF11_ETH;
  HAL_GPIO_Init(RMII_TXD1_GPIO_Port, &GPIO_InitStruct);

  /*Configure GPIO pins : STLK_RX_Pin STLK_TX_Pin */
  GPIO_InitStruct.Pin = STLK_RX_Pin|STLK_TX_Pin;
  GPIO_InitStruct.Mode = GPIO_MODE_AF_PP;
  GPIO_InitStruct.Pull = GPIO_NOPULL;
  GPIO_InitStruct.Speed = GPIO_SPEED_FREQ_VERY_HIGH;
  GPIO_InitStruct.Alternate = GPIO_AF7_USART3;
  HAL_GPIO_Init(GPIOD, &GPIO_InitStruct);

  /*Configure GPIO pin : USB_PowerSwitchOn_Pin */
  GPIO_InitStruct.Pin = USB_PowerSwitchOn_Pin;
  GPIO_InitStruct.Mode = GPIO_MODE_OUTPUT_PP;
  GPIO_InitStruct.Pull = GPIO_NOPULL;
  GPIO_InitStruct.Speed = GPIO_SPEED_FREQ_LOW;
  HAL_GPIO_Init(USB_PowerSwitchOn_GPIO_Port, &GPIO_InitStruct);

  /*Configure GPIO pin : USB_OverCurrent_Pin */
  GPIO_InitStruct.Pin = USB_OverCurrent_Pin;
  GPIO_InitStruct.Mode = GPIO_MODE_INPUT;
  GPIO_InitStruct.Pull = GPIO_NOPULL;
  HAL_GPIO_Init(USB_OverCurrent_GPIO_Port, &GPIO_InitStruct);

  /*Configure GPIO pins : RMII_TX_EN_Pin RMII_TXD0_Pin */
  GPIO_InitStruct.Pin = RMII_TX_EN_Pin|RMII_TXD0_Pin;
  GPIO_InitStruct.Mode = GPIO_MODE_AF_PP;
  GPIO_InitStruct.Pull = GPIO_NOPULL;
  GPIO_InitStruct.Speed = GPIO_SPEED_FREQ_VERY_HIGH;
  GPIO_InitStruct.Alternate = GPIO_AF11_ETH;
  HAL_GPIO_Init(GPIOG, &GPIO_InitStruct);

  /* EXTI interrupt init*/
  HAL_NVIC_SetPriority(EXTI15_10_IRQn, 0, 0);
  HAL_NVIC_EnableIRQ(EXTI15_10_IRQn);

}

/* USER CODE BEGIN 4 */
void HAL_GPIO_EXTI_Callback(uint16_t GPIO_Pin)
{
  static uint32_t last_button_press_time = 0;
  const uint32_t debounce_delay_ms = 200;

  if (GPIO_Pin == USER_Btn_Pin)
  {
    if (HAL_GetTick() - last_button_press_time > debounce_delay_ms)
    {
        last_button_press_time = HAL_GetTick();
        if (mcu_state == STATE_READY_TO_LISTEN) {
            user_button_pressed_flag = 1;
//            Send_CDC_Message_Safe("DBG: User button pressed, flag set.\r\n");
        } else {
            Send_CDC_Message_Safe("DBG: User button pressed, but not in READY state. Ignored.\r\n");
        }
    }
  }
}

void HAL_DFSDM_FilterRegConvCpltCallback(DFSDM_Filter_HandleTypeDef *hdfsdm_filter)
{
  if (hdfsdm_filter == &hdfsdm1_filter0) {
    if (mcu_state == STATE_LISTENING) {
        dma_full_transfer_complete_flag = 1;
    }
  }
}

void HAL_DFSDM_FilterErrorCallback(DFSDM_Filter_HandleTypeDef *hdfsdm_filter)
{
    if (hdfsdm_filter == &hdfsdm1_filter0) {
        HAL_GPIO_WritePin(GPIOB, LD3_Pin, GPIO_PIN_SET);
        Send_CDC_Message_Safe("FATAL: DFSDM Filter Error Callback!\r\n");
    }
}
/* USER CODE END 4 */

void Error_Handler(void)
{
  /* USER CODE BEGIN Error_Handler_Debug */
  hardfault_indicator_flag = 1;
  __disable_irq();

  while (1)
  {
      HAL_GPIO_TogglePin(GPIOB, LD3_Pin);
      for(volatile int i=0; i<500000; i++);
  }
  /* USER CODE END Error_Handler_Debug */
}

#ifdef  USE_FULL_ASSERT
/**
  * @brief  Reports the name of the source file and the source line number
  *         where the assert_param error has occurred.
  * @param  file: pointer to the source file name
  * @param  line: assert_param error line source number
  * @retval None
  */
void assert_failed(uint8_t *file, uint32_t line)
{
  /* USER CODE BEGIN 6 */
    char msg[128];
    sprintf(msg, "Assert failed: file %s, line %lu\r\n", (char*)file, line);
    Send_CDC_Message_Safe(msg);
    Error_Handler();
  /* USER CODE END 6 */
}
#endif /* USE_FULL_ASSERT */
